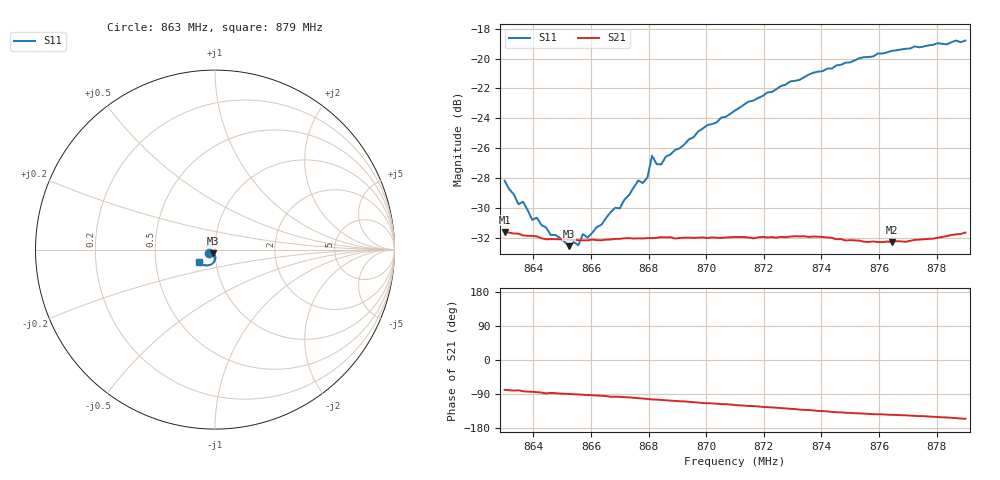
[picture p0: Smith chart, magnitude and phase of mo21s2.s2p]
# HZ S RI R 50
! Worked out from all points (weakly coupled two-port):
!   101 points, 863 MHz to 879 MHz, reference 50 ohm
!   highest |S21| = -31.62 dB at 863 MHz (marker M1); lowest = -32.3 dB at 876.44 MHz (marker M2)
!   lowest |S11| = -32.6 dB at 865.24 MHz (marker M3), VSWR 1.05, Z = 48.7 - j1.92 ohm
!   |S11| at or under -10 dB: start of sweep to end of sweep
!   S12 and S22 are empty: the file has one direction only
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8.63e8  -0.0348 -0.0175  0.00508 -0.0257  0 0  0 0
8.6348e8  -0.0288 -0.0151  0.00452 -0.0255  0 0  0 0
8.6364e8  -0.0288 -0.0163  0.00337 -0.0253  0 0  0 0
8.6396e8  -0.0242 -0.0157  0.00277 -0.0253  0 0  0 0
8.6412e8  -0.0235 -0.0175  0.00224 -0.0252  0 0  0 0
8.646e8  -0.018 -0.0182  0.00132 -0.0248  0 0  0 0
8.6524e8  -0.0128 -0.0197  0.000208 -0.0247  0 0  0 0
8.6556e8  -0.0109 -0.021  -0.000359 -0.0246  0 0  0 0
8.6572e8  -0.00784 -0.0246  -0.000743 -0.0246  0 0  0 0
8.6588e8  -0.00797 -0.0238  -0.00106 -0.0246  0 0  0 0
8.6684e8  -0.00246 -0.0315  -0.00297 -0.0247  0 0  0 0
8.67e8  -0.00144 -0.0314  -0.00311 -0.0247  0 0  0 0
8.6764e8  -0.000764 -0.039  -0.0047 -0.0245  0 0  0 0
8.678e8  0.00185 -0.0382  -0.00504 -0.0244  0 0  0 0
8.6796e8  0.00153 -0.0399  -0.00556 -0.0244  0 0  0 0
8.6812e8  -0.00406 -0.0471  -0.00613 -0.0243  0 0  0 0
8.6844e8  0.00142 -0.0442  -0.00671 -0.0243  0 0  0 0
8.6972e8  0.000307 -0.0569  -0.00951 -0.0232  0 0  0 0
8.71e8  -0.00547 -0.0668  -0.0122 -0.0221  0 0  0 0
8.7372e8  -0.0269 -0.0855  -0.0173 -0.0185  0 0  0 0
8.7644e8  -0.0608 -0.087  -0.0198 -0.014  0 0  0 0
8.79e8  -0.0903 -0.0713  -0.0237 -0.011  0 0  0 0
